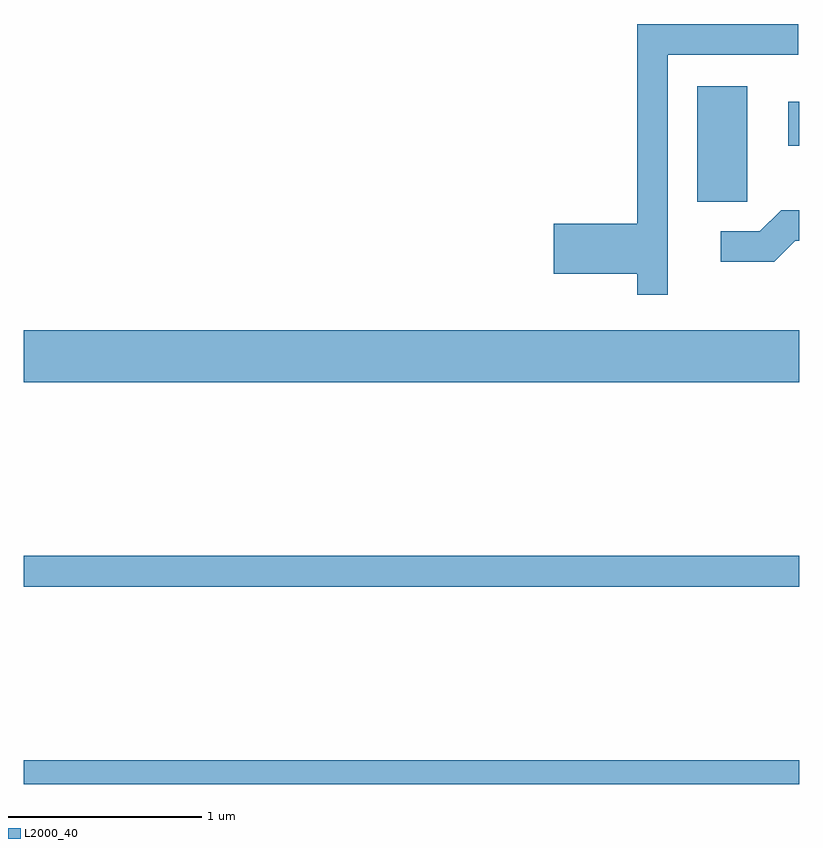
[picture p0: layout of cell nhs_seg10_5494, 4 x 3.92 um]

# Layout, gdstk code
import gdstk
lib = gdstk.Library(unit=1e-6, precision=1e-09)
def R(c, l, rs):  # rectangles x0, y0, x1, y1
    for r in rs: c.add(gdstk.rectangle(r[:2], r[2:], *l))
def P(c, l, *ps):  # polygons
    for p in ps: c.add(gdstk.Polygon(p, *l))
L2000_40 = (2000, 40)

nhs_seg10_5494 = lib.new_cell('nhs_seg10_5494')
R(nhs_seg10_5494, L2000_40, [(347.611,2098.522,351.611,2098.644), (347.611,2099.541,351.611,2099.699), (347.611,2100.596,351.611,2100.864), (351.086,2101.526,351.344,2102.124), (351.556,2101.816,351.611,2102.044)])
P(nhs_seg10_5494, L2000_40, [(350.934,2102.286),(351.608,2102.286),(351.608,2102.444),(350.776,2102.444),(350.776,2101.414),(350.346,2101.414),(350.346,2101.156),(350.776,2101.156),(350.776,2101.048),(350.934,2101.048)],
  [(351.592,2101.326),(351.611,2101.326),(351.611,2101.484),(351.519,2101.484),(351.409,2101.374),(351.208,2101.374),(351.208,2101.216),(351.482,2101.216)])

lib.write_gds('nhs_seg10_5494.gds')
